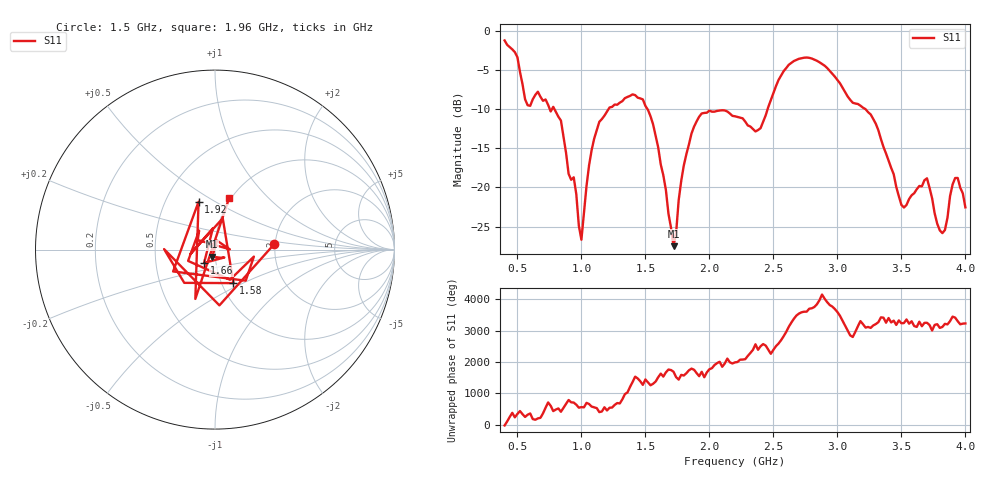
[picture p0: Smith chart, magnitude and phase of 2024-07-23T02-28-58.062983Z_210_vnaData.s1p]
!Created with skrf (http://scikit-rf.org).
# Hz S RI R 50.0
!freq ReS11 ImS11
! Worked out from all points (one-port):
!   181 points, 400 MHz to 4 GHz, reference 50 ohm
!   lowest |S11| = -27.5 dB at 1.72 GHz (marker M1), VSWR 1.09, Z = 48.4 - j3.82 ohm
!   |S11| at or under -10 dB: 788.2 MHz to 1.213 GHz (424.8 MHz wide, 42.5 % of centre); 1.515 GHz to 2.455 GHz (940.4 MHz wide, 47.4 % of centre); 3.216 GHz to end of sweep (the widest 3 of 4)
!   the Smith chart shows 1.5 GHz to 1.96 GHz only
!   S11 on the Smith chart (normalised r, x): 1.5 GHz: 1.98, +0.13; 1.58 GHz: 1.14, -0.44; 1.66 GHz: 0.88, -0.13; 1.92 GHz: 0.73, +0.42; 1.96 GHz: 0.98, +0.62
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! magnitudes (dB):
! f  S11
! 400 MHz  -1.3
! 500 MHz  -3.4
! 580 MHz  -9.5
! 660 MHz  -7.8
! 860 MHz  -13.6
! 900 MHz  -18.3
! 940 MHz  -18.7
! 1 GHz  -26.7
! 1.1 GHz  -13.8
! 1.3 GHz  -9.2
! 1.5 GHz  -9.6
! 1.58 GHz  -13.4
! 1.66 GHz  -20.3
! 1.72 GHz  -27.5
! 1.76 GHz  -21.6
! 1.92 GHz  -11.0
! 1.96 GHz  -10.5
! 2.2 GHz  -10.9
! 2.4 GHz  -12.5
! 2.66 GHz  -3.9
! 3.1 GHz  -8.8
! 3.26 GHz  -10.7
! 3.5 GHz  -22.2
! 3.56 GHz  -21.5
! 3.7 GHz  -18.9
! 3.82 GHz  -25.8
! 3.92 GHz  -18.8
! 4 GHz  -22.6
